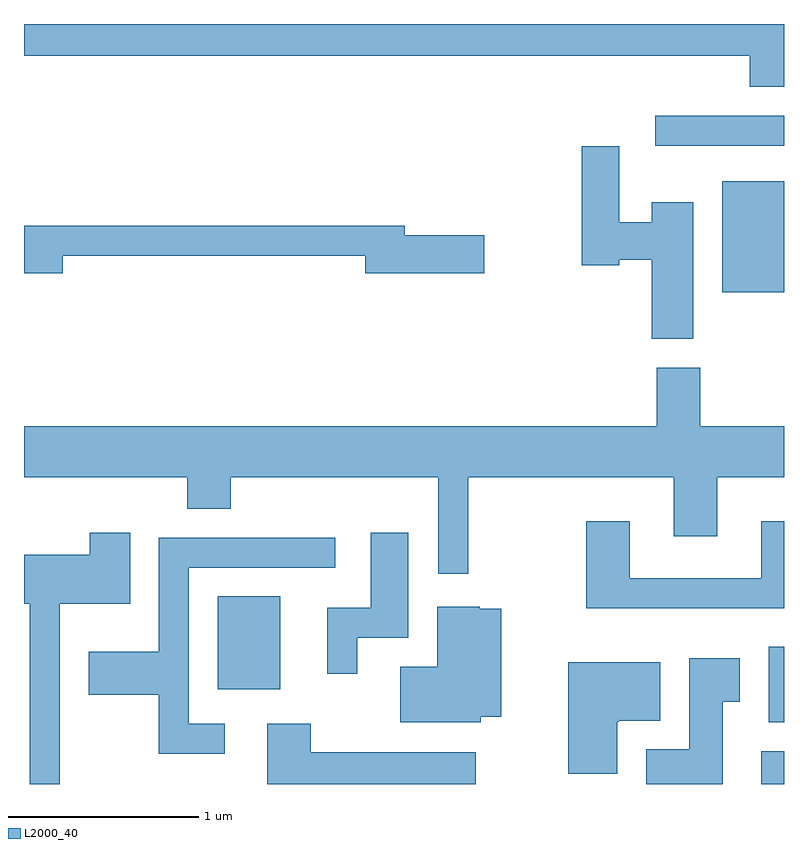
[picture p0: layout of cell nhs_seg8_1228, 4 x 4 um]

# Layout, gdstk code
import gdstk
lib = gdstk.Library(unit=1e-6, precision=1e-09)
def R(c, l, rs):  # rectangles x0, y0, x1, y1
    for r in rs: c.add(gdstk.rectangle(r[:2], r[2:], *l))
def P(c, l, *ps):  # polygons
    for p in ps: c.add(gdstk.Polygon(p, *l))
L2000_40 = (2000, 40)

nhs_seg8_1228 = lib.new_cell('nhs_seg8_1228')
R(nhs_seg8_1228, L2000_40, [(225.491,1850.342,225.611,1850.514), (225.531,1850.666,225.611,1851.064), (222.631,1850.841,222.959,1851.329), (225.286,1852.931,225.611,1853.514), (224.933,1853.701,225.611,1853.859)])
P(nhs_seg8_1228, L2000_40, [(225.611,1854.342),(221.611,1854.342),(221.611,1854.176),(225.431,1854.176),(225.431,1854.011),(225.611,1854.011)],
  [(225.134,1853.404),(224.916,1853.404),(224.916,1853.299),(224.744,1853.299),(224.744,1853.699),(224.546,1853.699),(224.546,1853.071),(224.744,1853.071),(224.744,1853.101),(224.916,1853.101),(224.916,1852.686),(225.134,1852.686)],
  [(221.814,1853.121),(223.406,1853.121),(223.406,1853.031),(224.034,1853.031),(224.034,1853.229),(223.614,1853.229),(223.614,1853.279),(221.611,1853.279),(221.611,1853.031),(221.814,1853.031)],
  [(223.949,1851.956),(225.031,1851.956),(225.031,1851.646),(225.259,1851.646),(225.259,1851.956),(225.611,1851.956),(225.611,1852.224),(225.169,1852.224),(225.169,1852.534),(224.941,1852.534),(224.941,1852.224),(221.611,1852.224),(221.611,1851.956),(222.471,1851.956),(222.471,1851.791),(222.699,1851.791),(222.699,1851.956),(223.791,1851.956),(223.791,1851.448),(223.949,1851.448)],
  [(225.611,1851.724),(225.491,1851.724),(225.491,1851.424),(224.799,1851.424),(224.799,1851.724),(224.571,1851.724),(224.571,1851.266),(225.611,1851.266)],
  [(221.799,1851.291),(222.169,1851.291),(222.169,1851.664),(221.956,1851.664),(221.956,1851.549),(221.611,1851.549),(221.611,1851.291),(221.641,1851.291),(221.641,1850.342),(221.799,1850.342)],
  [(223.364,1851.111),(223.634,1851.111),(223.634,1851.664),(223.436,1851.664),(223.436,1851.269),(223.206,1851.269),(223.206,1850.923),(223.364,1850.923)],
  [(222.668,1850.659),(222.479,1850.659),(222.479,1851.481),(223.248,1851.481),(223.248,1851.639),(222.321,1851.639),(222.321,1851.039),(221.951,1851.039),(221.951,1850.811),(222.321,1850.811),(222.321,1850.501),(222.668,1850.501)],
  [(224.014,1850.696),(224.124,1850.696),(224.124,1851.264),(224.01,1851.264),(224.01,1851.274),(223.786,1851.274),(223.786,1850.959),(223.591,1850.959),(223.591,1850.666),(224.014,1850.666)],
  [(225.289,1850.776),(225.379,1850.776),(225.379,1851.004),(225.111,1851.004),(225.111,1850.524),(224.886,1850.524),(224.886,1850.342),(225.289,1850.342)],
  [(224.734,1850.67),(224.74,1850.67),(224.74,1850.676),(224.959,1850.676),(224.959,1850.984),(224.476,1850.984),(224.476,1850.396),(224.734,1850.396)],
  [(223.988,1850.509),(223.119,1850.509),(223.119,1850.659),(222.891,1850.659),(222.891,1850.342),(223.988,1850.342)])

lib.write_gds('nhs_seg8_1228.gds')
